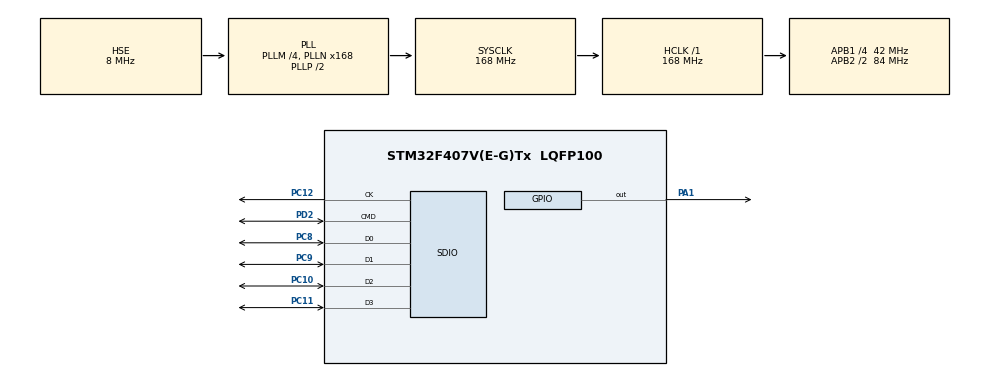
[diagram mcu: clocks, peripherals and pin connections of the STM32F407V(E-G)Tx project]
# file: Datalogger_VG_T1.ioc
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Dma.Request0=SDIO_RX
Dma.Request1=SDIO_TX
Dma.SDIO_RX.0.Direction=DMA_PERIPH_TO_MEMORY
Dma.SDIO_RX.0.FIFOMode=DMA_FIFOMODE_ENABLE
Dma.SDIO_RX.0.FIFOThreshold=DMA_FIFO_THRESHOLD_FULL
Dma.SDIO_RX.0.Instance=DMA2_Stream3
Dma.SDIO_RX.0.MemBurst=DMA_MBURST_INC4
Dma.SDIO_RX.0.MemDataAlignment=DMA_MDATAALIGN_WORD
Dma.SDIO_RX.0.MemInc=DMA_MINC_ENABLE
Dma.SDIO_RX.0.Mode=DMA_PFCTRL
Dma.SDIO_RX.0.PeriphBurst=DMA_PBURST_INC4
Dma.SDIO_RX.0.PeriphDataAlignment=DMA_PDATAALIGN_WORD
Dma.SDIO_RX.0.PeriphInc=DMA_PINC_DISABLE
Dma.SDIO_RX.0.Priority=DMA_PRIORITY_LOW
Dma.SDIO_TX.1.Direction=DMA_MEMORY_TO_PERIPH
Dma.SDIO_TX.1.FIFOMode=DMA_FIFOMODE_ENABLE
Dma.SDIO_TX.1.FIFOThreshold=DMA_FIFO_THRESHOLD_FULL
Dma.SDIO_TX.1.Instance=DMA2_Stream6
Dma.SDIO_TX.1.MemBurst=DMA_MBURST_INC4
Dma.SDIO_TX.1.MemDataAlignment=DMA_MDATAALIGN_WORD
Dma.SDIO_TX.1.MemInc=DMA_MINC_ENABLE
Dma.SDIO_TX.1.Mode=DMA_PFCTRL
Dma.SDIO_TX.1.PeriphBurst=DMA_PBURST_INC4
Dma.SDIO_TX.1.PeriphDataAlignment=DMA_PDATAALIGN_WORD
Dma.SDIO_TX.1.PeriphInc=DMA_PINC_DISABLE
Dma.SDIO_TX.1.Priority=DMA_PRIORITY_LOW
FATFS._MAX_SS=4096
Mcu.Family=STM32F4
Mcu.Name=STM32F407V(E-G)Tx
Mcu.Package=LQFP100
NVIC.DMA2_Stream3_IRQn=true\:0\:0\:false\:false\:true\:false\:true
NVIC.DMA2_Stream6_IRQn=true\:0\:0\:false\:false\:true\:false\:true
NVIC.PriorityGroup=NVIC_PRIORITYGROUP_4
NVIC.SDIO_IRQn=true\:0\:0\:false\:false\:true\:true\:true
NVIC.TIM2_IRQn=true\:0\:0\:false\:false\:true\:true\:true
PA1.Signal=GPIO_Output
PC10.GPIO_PuPd=GPIO_PULLUP
PC10.Mode=SD_4_bits_Wide_bus
PC10.Signal=SDIO_D2
PC11.GPIO_PuPd=GPIO_PULLUP
PC11.Mode=SD_4_bits_Wide_bus
PC11.Signal=SDIO_D3
PC12.Mode=SD_4_bits_Wide_bus
PC12.Signal=SDIO_CK
PC14-OSC32_IN.Mode=LSE-External-Oscillator
PC14-OSC32_IN.Signal=RCC_OSC32_IN
PC15-OSC32_OUT.Mode=LSE-External-Oscillator
PC15-OSC32_OUT.Signal=RCC_OSC32_OUT
PC8.GPIO_PuPd=GPIO_PULLUP
PC8.Mode=SD_4_bits_Wide_bus
PC8.Signal=SDIO_D0
PC9.GPIO_PuPd=GPIO_PULLUP
PC9.Mode=SD_4_bits_Wide_bus
PC9.Signal=SDIO_D1
PD2.GPIO_PuPd=GPIO_PULLUP
PD2.Mode=SD_4_bits_Wide_bus
PD2.Signal=SDIO_CMD
PH0-OSC_IN.Mode=HSE-External-Oscillator
PH0-OSC_IN.Signal=RCC_OSC_IN
PH1-OSC_OUT.Mode=HSE-External-Oscillator
PH1-OSC_OUT.Signal=RCC_OSC_OUT
ProjectManager.HeapSize=0x200
ProjectManager.StackSize=0x400
ProjectManager.TargetToolchain=MDK-ARM V5.27
RCC.48MHZClocksFreq_Value=48000000
RCC.AHBFreq_Value=168000000
RCC.APB1CLKDivider=RCC_HCLK_DIV4
RCC.APB1Freq_Value=42000000
RCC.APB1TimFreq_Value=84000000
RCC.APB2CLKDivider=RCC_HCLK_DIV2
RCC.APB2Freq_Value=84000000
RCC.APB2TimFreq_Value=168000000
RCC.CortexFreq_Value=168000000
RCC.HCLKFreq_Value=168000000
RCC.HSE_VALUE=8000000
RCC.HSI_VALUE=16000000
RCC.PLLM=4
RCC.PLLN=168
RCC.PLLQ=7
RCC.PLLSourceVirtual=RCC_PLLSOURCE_HSE
RCC.SYSCLKFreq_VALUE=168000000
RCC.SYSCLKSource=RCC_SYSCLKSOURCE_PLLCLK
RCC.VCOOutputFreq_Value=336000000
TIM2.Period=1000
TIM2.Prescaler=42000
TIM2.TIM_MasterOutputTrigger=TIM_TRGO_UPDATE
VP_FATFS_VS_SDIO.Mode=SDIO
VP_TIM2_VS_ClockSourceINT.Mode=Internal
board=custom

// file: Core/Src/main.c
/* USER CODE BEGIN Header */
/**
  ******************************************************************************
  * @file           : main.c
  * @brief          : Main program body
  ******************************************************************************
  * @attention
  *
  * <h2><center>&copy; Copyright (c) 2021 STMicroelectronics.
  * All rights reserved.</center></h2>
  *
  * This software component is licensed by ST under Ultimate Liberty license
  * SLA0044, the "License"; You may not use this file except in compliance with
  * the License. You may obtain a copy of the License at:
  *                             www.st.com/SLA0044
  *
  ******************************************************************************
  */
/* USER CODE END Header */
#include "main.h"
#include "dma.h"
#include "fatfs.h"
#include "sdio.h"
#include "tim.h"
#include "gpio.h"

/* USER CODE BEGIN Includes */
#include "stdio.h"
#include "string.h"

/* USER CODE END Includes */

/* USER CODE BEGIN PV */

char time [5];
char time1[5];
char date[5];
char file_name[] = "DATA456.txt";
char flag[30];

uint8_t Rx_exdata[6];
uint8_t Rx_data[6];
uint8_t Differ[6];
uint8_t buffer[5];
uint8_t count = 0;

_Bool test = 0;
_Bool enable = 1;

FRESULT res;
UINT written;
FILINFO info;
BYTE work[_MAX_SS];

/* USER CODE END PV */

void SystemClock_Config(void);

int main(void)
{

  /* MCU Configuration--------------------------------------------------------*/

  /* Reset of all peripherals, Initializes the Flash interface and the Systick. */
  HAL_Init();

  /* Configure the system clock */
  SystemClock_Config();

  /* Initialize all configured peripherals */
  MX_GPIO_Init();
  MX_DMA_Init();
  MX_SDIO_SD_Init();
  MX_FATFS_Init();
  MX_TIM2_Init();
  /* USER CODE BEGIN 2 */

	HAL_TIM_Base_Start_IT(&htim2);

	// SD file set/mount
	/* Mode option 0:Do not mount (delayed mount), 1:Mount immediately */
	res = f_mount(&SDFatFS, (TCHAR const*)SDPath, 0);
	// SD file open
	res = f_open(&SDFile, file_name, FA_WRITE | FA_READ | FA_CREATE_ALWAYS );
	f_close(&SDFile);

  /* USER CODE END 2 */

  /* Infinite loop */
  while (1)
  {

    /* USER CODE BEGIN 3 */
		test = !test;
		sprintf((char*)time1, "123");
		res = f_open(&SDFile, file_name, FA_OPEN_APPEND | FA_WRITE | FA_READ );
	  res = f_write(&SDFile, time1 , strlen(time1), &written);
	  f_close(&SDFile);
		HAL_Delay(250);
  }
  /* USER CODE END 3 */
}

void SystemClock_Config(void)
{
  RCC_OscInitTypeDef RCC_OscInitStruct = {0};
  RCC_ClkInitTypeDef RCC_ClkInitStruct = {0};

  /** Configure the main internal regulator output voltage
  */
  __HAL_RCC_PWR_CLK_ENABLE();
  __HAL_PWR_VOLTAGESCALING_CONFIG(PWR_REGULATOR_VOLTAGE_SCALE1);
  /** Initializes the RCC Oscillators according to the specified parameters
  * in the RCC_OscInitTypeDef structure.
  */
  RCC_OscInitStruct.OscillatorType = RCC_OSCILLATORTYPE_HSE;
  RCC_OscInitStruct.HSEState = RCC_HSE_ON;
  RCC_OscInitStruct.PLL.PLLState = RCC_PLL_ON;
  RCC_OscInitStruct.PLL.PLLSource = RCC_PLLSOURCE_HSE;
  RCC_OscInitStruct.PLL.PLLM = 4;
  RCC_OscInitStruct.PLL.PLLN = 168;
  RCC_OscInitStruct.PLL.PLLP = RCC_PLLP_DIV2;
  RCC_OscInitStruct.PLL.PLLQ = 7;
  if (HAL_RCC_OscConfig(&RCC_OscInitStruct) != HAL_OK)
  {
    Error_Handler();
  }
  /** Initializes the CPU, AHB and APB buses clocks
  */
  RCC_ClkInitStruct.ClockType = RCC_CLOCKTYPE_HCLK|RCC_CLOCKTYPE_SYSCLK
                              |RCC_CLOCKTYPE_PCLK1|RCC_CLOCKTYPE_PCLK2;
  RCC_ClkInitStruct.SYSCLKSource = RCC_SYSCLKSOURCE_PLLCLK;
  RCC_ClkInitStruct.AHBCLKDivider = RCC_SYSCLK_DIV1;
  RCC_ClkInitStruct.APB1CLKDivider = RCC_HCLK_DIV4;
  RCC_ClkInitStruct.APB2CLKDivider = RCC_HCLK_DIV2;

  if (HAL_RCC_ClockConfig(&RCC_ClkInitStruct, FLASH_LATENCY_5) != HAL_OK)
  {
    Error_Handler();
  }
}

/* USER CODE BEGIN 4 */

void HAL_TIM_PeriodElapsedCallback(TIM_HandleTypeDef *htim)
{
  /* Prevent unused argument(s) compilation warning */
  UNUSED(htim);

  /* NOTE : This function should not be modified, when the callback is needed,
            the HAL_TIM_PeriodElapsedCallback could be implemented in the user file
   */
	if(1)
	{
		test = !test;

	  sprintf((char*)time1, "%02d:%02d:%02d\n", Rx_data[0], Rx_data[1], Rx_data[2]);
		//Print Data into SD Card

	  res = f_open(&SDFile, file_name, FA_OPEN_APPEND | FA_WRITE | FA_READ );
	  res = f_write(&SDFile, time1 , strlen(time1), &written);
	  f_close(&SDFile);

	}
}

/*
	test = !test;
	if(GPIO_Pin==GPIO_PIN_2)
	{
		if(HAL_GPIO_ReadPin(GPIOE,GPIO_PIN_2)==GPIO_PIN_RESET)
		{
			HAL_Delay(20);
			HAL_GPIO_WritePin(GPIOA,GPIO_PIN_5,GPIO_PIN_SET);

			sprintf((char*)time1, "%02d:%02d:%02d\n", Rx_data[0], Rx_data[1], Rx_data[2]);
		  //Print Data into SD Card
		  res = f_open(&SDFile, file_name, FA_OPEN_APPEND | FA_WRITE | FA_READ );
		  res = f_write(&SDFile, time1 , strlen(time1), &written);
		  f_close(&SDFile);

		}
		else
		{
			HAL_GPIO_WritePin(GPIOA,GPIO_PIN_5,GPIO_PIN_RESET);
		}
	}
	*/
/* USER CODE END 4 */

void Error_Handler(void)
{
  __disable_irq();
  while (1)
  {
  }
}

/************************ (C) COPYRIGHT STMicroelectronics *****END OF FILE****/
